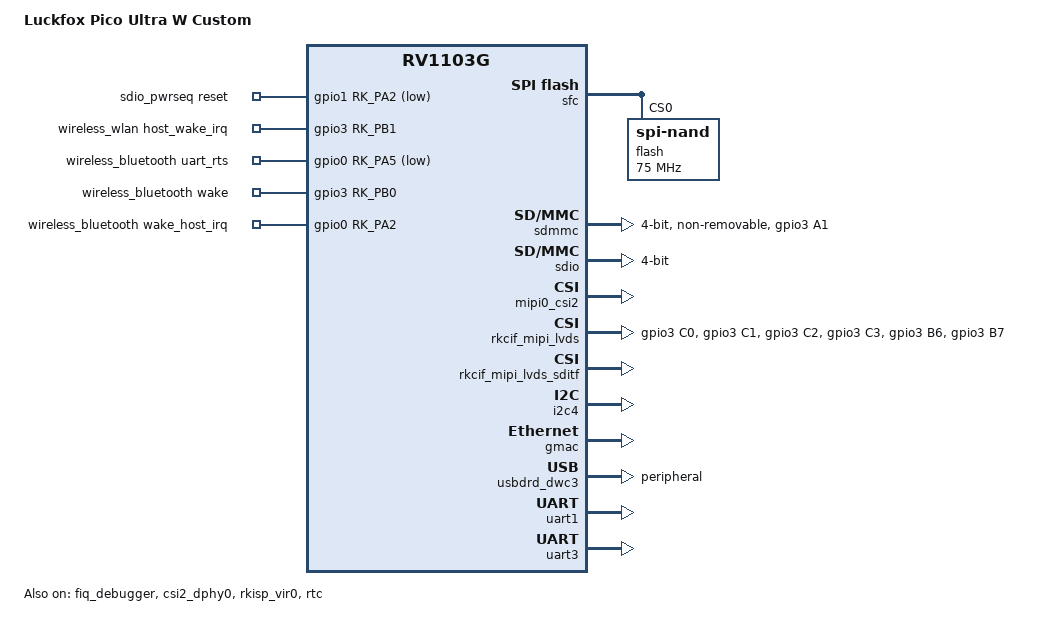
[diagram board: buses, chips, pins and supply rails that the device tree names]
// SPDX-License-Identifier: (GPL-2.0+ OR MIT)
/*
 * Luckfox Pico Ultra W 自研板 — SPI NAND + AIC8800
 * WiFi/BT 模组兼容 AIC8800DC 与 AIC8800D80/D80L（同一 SDIO + UART1 脚位）
 * WiFi SDIO: GPIO3 sdmmc0 / &sdmmc（与官方 Ultra 相同）
 * GPIO2 sdmmc1m0 / &sdio 为 SD 卡，勿用于 WiFi
 */

/dts-v1/;
#include "rv1106.dtsi"
#include "rv1106-luckfox-pico-ultra-ipc.dtsi"
#include <dt-bindings/input/input.h>
#include <dt-bindings/display/media-bus-format.h>

/ {
	model = "Luckfox Pico Ultra W Custom";
	compatible = "rockchip,rv1103g-38x38-ipc-v10", "rockchip,rv1106g3";

	restart-poweroff {
		compatible = "restart-poweroff";
	};

	/* WL_EN: ACTIVE_LOW 复位低有效；低保持 100ms 再拉高，再等 500ms 扫 SDIO */
	sdio_pwrseq: sdio-pwrseq {
		compatible = "mmc-pwrseq-simple";
		reset-gpios = <&gpio1 RK_PA2 GPIO_ACTIVE_LOW>;
		pre-power-on-delay-ms = <100>;
		post-power-on-delay-ms = <500>;
	};

	/* WL_HOST_WAKE → GPIO3_B1 */
	wireless_wlan: wireless-wlan {
		compatible = "wlan-platdata";
		WIFI,host_wake_irq = <&gpio3 RK_PB1 GPIO_ACTIVE_HIGH>;
		status = "okay";
	};

	wireless_bluetooth: wireless-bluetooth {
		compatible = "bluetooth-platdata";
		uart_rts_gpios = <&gpio0 RK_PA5 GPIO_ACTIVE_LOW>;
		pinctrl-names = "default", "rts_gpio";
		pinctrl-0 = <&uart1m0_rtsn>;
		pinctrl-1 = <&uart1_gpios>;
		/* BT_WAKE_HOST → GPIO3_B0 */
		BT,wake_gpio     = <&gpio3 RK_PB0 GPIO_ACTIVE_HIGH>;
		/* HOST_WAKE_BT → GPIO0_A2 */
		BT,wake_host_irq = <&gpio0 RK_PA2 GPIO_ACTIVE_HIGH>;
		status = "okay";
	};
};

/**********SPI NAND (Winbond W25N02KVZEIR, 2Gbit/256MB)**********/
&sfc {
	status = "okay";
	pinctrl-names = "default";
	pinctrl-0 = <&fspi_pins &fspi_cs0>;

	flash@0 {
		compatible = "spi-nand";
		reg = <0>;
		spi-max-frequency = <75000000>;
		spi-rx-bus-width = <4>;
		spi-tx-bus-width = <1>;
	};
};

&emmc {
	status = "disabled";
};

&fiq_debugger {
	rockchip,irq-mode-enable = <1>;
	status = "okay";
};

/**********SDIO-WIFI on GPIO3 sdmmc0（与官方 Ultra 一致）**********
 * CLK/CMD: GPIO3_A4/A5  D0-D3: GPIO3_A3/A2/A7/A6  DET: GPIO3_A1
 */
&sdmmc {
	max-frequency = <50000000>;
	bus-width = <4>;
	cap-sd-highspeed;
	cap-sdio-irq;
	keep-power-in-suspend;
	non-removable;
	rockchip,default-sample-phase = <90>;
	supports-sdio;
	mmc-pwrseq = <&sdio_pwrseq>;
	pinctrl-names = "default";
	pinctrl-0 = <&sdmmc0_clk &sdmmc0_cmd &sdmmc0_bus4 &sdmmc0_det>;
	status = "okay";
};

/**********SD 卡 TF（GPIO2 sdmmc1m0 / &sdio，与原理图一致）**********
 * D0-D3: GPIO2_A1/A0/A5/A4  CLK: GPIO2_A2  CMD: GPIO2_A3
 */
&sdio {
	max-frequency = <50000000>;
	no-sdio;
	no-mmc;
	supports-sd;
	bus-width = <4>;
	cap-mmc-highspeed;
	cap-sd-highspeed;
	disable-wp;
	pinctrl-names = "default";
	pinctrl-0 = <&sdmmc1m0_cmd &sdmmc1m0_clk &sdmmc1m0_bus4>;
	status = "okay";
};

/**********CSI 2-lane（GPIO3_B0/B1 留给 WiFi/BT 唤醒，不用 mipi_pins 的 d3）**********
 * 官方 Ultra dtsi 默认 okay；此前为避让唤醒脚整段关掉。
 * 传感器 data-lanes = <1 2>，只需 ck0+d0+d1。勿开 dphy1/mipi1/vir1，勿重开 LCD。
 * i2c4 保持 dtsi 的 i2c4m2（GPIO3_PC7/PD0），勿改 m0（与 SD GPIO2 冲突）。
 */
&csi2_dphy0 {
	status = "okay";
};

&mipi0_csi2 {
	status = "okay";
};

&rkcif_mipi_lvds {
	status = "okay";
	pinctrl-names = "default";
	pinctrl-0 = <&mipi_pins_2lane>;
};

&rkcif_mipi_lvds_sditf {
	status = "okay";
};

&rkisp_vir0 {
	status = "okay";
};

&i2c4 {
	status = "okay";
};

/**********自研板无 LCD/触摸：释放 GPIO2 给 SD 卡 **********
 * Ultra dtsi 的 RGB 使用 lcd_d8~d13 = GPIO2_A0~A5，与 sdmmc1m0 冲突
 */
/ {
	panel: panel {
		status = "disabled";
	};

	backlight: backlight {
		status = "disabled";
	};
};

&display_subsystem {
	status = "disabled";
};

&rgb {
	status = "disabled";
};

&rgb_in_vop {
	status = "disabled";
};

&route_rgb {
	status = "disabled";
};

&vop {
	status = "disabled";
};

&pwm1 {
	status = "disabled";
};

&i2c3 {
	status = "disabled";
};

/**********ETH**********/
&gmac {
	status = "okay";
};

/**********USB**********/
&usbdrd_dwc3 {
	status = "okay";
	dr_mode = "peripheral";
};

/**********RTC**********/
&rtc {
	status = "okay";
};

/**********BT**********/
&uart1 {
	status = "okay";
	pinctrl-names = "default";
	pinctrl-0 = <&uart1m0_xfer &uart1m0_ctsn>;
};

/**********ESP32-C3（U5）UART3 M0：GPIO1_A0 TX / GPIO1_A1 RX**********
 * 覆盖 ipc dtsi 的 <&uart3m0_xfer &uart3m1_xfer>。uart3m1 是 GPIO1_D0/D1，本板不用。
 * U5 ESP_RX/ESP_TX 只接调试座，不是和 1106 通讯的那对。
 * 别名 serial3（rv1106.dtsi）→ /dev/ttyS3。勿改 &uart1（AIC HCI / ttyS1）。
 */
&uart3 {
	status = "okay";
	pinctrl-names = "default";
	pinctrl-0 = <&uart3m0_xfer>;
};

&pinctrl {
	sdmmc0 {
		sdmmc0_det: sdmmc0-det {
			rockchip,pins = <3 RK_PA1 1 &pcfg_pull_down>;
		};
	};

	wireless-bluetooth {
		uart1_gpios: uart1-gpios {
			rockchip,pins = <0 RK_PA5 RK_FUNC_GPIO &pcfg_pull_none>;
		};
	};

	mipi {
		mipi_pins_2lane: mipi-pins-2lane {
			rockchip,pins =
				<3 RK_PC0 2 &pcfg_pull_none>,
				<3 RK_PC1 2 &pcfg_pull_none>,
				<3 RK_PC2 2 &pcfg_pull_none>,
				<3 RK_PC3 2 &pcfg_pull_none>,
				<3 RK_PB6 2 &pcfg_pull_none>,
				<3 RK_PB7 2 &pcfg_pull_none>;
		};
	};
};

/********** ram oops / pstore（DW-SDK-003）**********
 * 本板 DRAM 256MB：物理 0x00000000–0x10000000（DTS 无 memory{}，由 U-Boot/ATAGS 传入）。
 * 禁止复制 rv1106-thunder-boot.dtsi 的 ramoops@0x7c000 / 0x3000：那是 128MB thunder-boot
 * 板上 MCU log（record/console 均为 0），不是内核 console，且 0x7c000 落在本板
 * SPL BSS/栈 0x001fe000 与 U-Boot TEXT 0x00200000 之前，会被下次启动冲掉。
 *
 * U-Boot ENV_MEM_LAYOUT（rv1106_common.h，非 CONFIG_ENV_MEM_LAYOUT 时）：
 *   Image   0–8MB     kernel_addr_r=0x00008000；内核 TEXT_OFFSET=0x00208000
 *   zImage  8–12MB    kernel_addr_c=0x00808000
 *   fdt    12–13MB    fdt_addr_r=0x00c00000（本板 dtb ≪ 1MB）
 *   （空隙 13–14MB） ← ramoops 放这里
 *   ramdisk 14MB+     ramdisk_addr_r=0x00e00000；CONFIG_SYS_LOAD_ADDR=0x00e00800
 * SPL TEXT 0x0、BSS/栈 0x001fe000；U-Boot TEXT 0x00200000、INIT_SP 0x00400000。
 * dtsi reserved-memory：mmc_ecsd@0x3f000 size 4K；drm-logo@0 size 0（占位）。
 * CMA：bootargs rk_dma_heap_cma=66M，且 DT linux,cma 10M reusable+inactive，均无
 * 固定基址，arm_memblock_init 里 dma_contiguous_reserve 与 rk_dma_heap_cma_setup
 * 从 DRAM 高端切，远离 13MB。ramoops 256KB 不占 CMA。
 * 不设 no-map：ramoops 需要内核映射。
 */
&reserved_memory {
	ramoops@d00000 {
		compatible = "ramoops";
		reg = <0x00d00000 0x00040000>; /* 13MB，256KB */
		record-size = <0x8000>;        /* 32KB × 约 4 条 oops/panic */
		console-size = <0x20000>;      /* 128KB printk，watchdog 硬复位也能留尾 */
		ftrace-size = <0x0>;
		pmsg-size = <0x0>;
	};
};

/**********SPI**********/
&spi0 {
	status = "disabled";
	spidev@0 {
		spi-max-frequency = <50000000>;
	};
};
